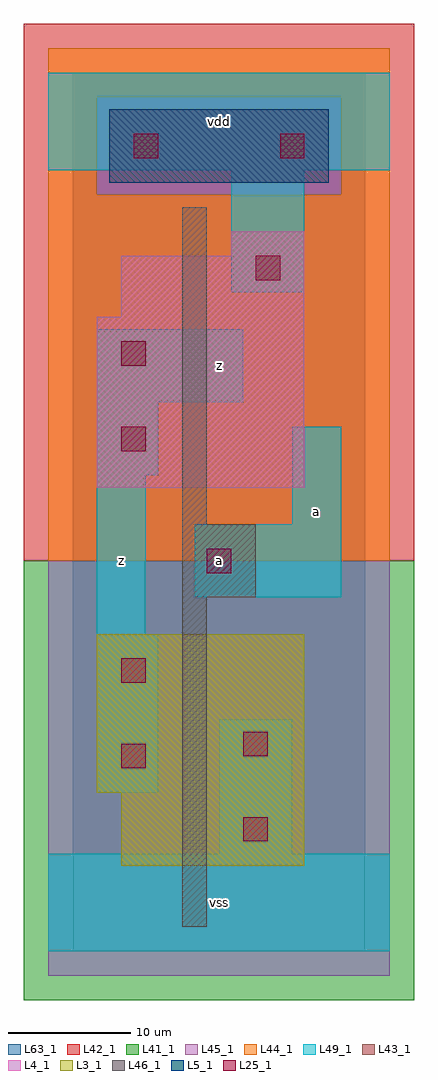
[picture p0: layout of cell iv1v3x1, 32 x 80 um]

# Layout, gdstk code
import gdstk
lib = gdstk.Library(unit=1e-6, precision=1e-09)
def R(c, l, rs):  # rectangles x0, y0, x1, y1
    for r in rs: c.add(gdstk.rectangle(r[:2], r[2:], *l))
L3_1 = (3, 1)
L4_1 = (4, 1)
L5_1 = (5, 1)
L25_1 = (25, 1)
L41_1 = (41, 1)
L42_1 = (42, 1)
L43_1 = (43, 1)
L44_1 = (44, 1)
L45_1 = (45, 1)
L46_1 = (46, 1)
L49_1 = (49, 1)
L63_1 = (63, 1)

iv1v3x1 = lib.new_cell('iv1v3x1')
R(iv1v3x1, L3_1, [(4,7,19,13), (2,13,19,26)])
R(iv1v3x1, L4_1, [(2,38,19,52), (4,52,19,57), (13,57,19,59)])
R(iv1v3x1, L5_1, [(3,63,21,69)])
R(iv1v3x1, L25_1, [(14,9,16,11), (4,15,6,17), (14,16,16,18), (4,22,6,24), (11,31,13,33), (4,41,6,43), (4,48,6,50), (15,55,17,57), (5,65,7,67), (17,65,19,67)])
R(iv1v3x1, L41_1, [(-4,-4,28,32)])
R(iv1v3x1, L42_1, [(-4,32,28,76)])
R(iv1v3x1, L43_1, [(4,7,19,13), (2,13,19,26), (2,38,19,52), (4,52,19,57), (13,57,19,59), (3,63,21,69)])
R(iv1v3x1, L44_1, [(-2,32,26,62), (-2,62,2,70), (22,62,26,70), (-2,70,26,74)])
R(iv1v3x1, L45_1, [(-2,-2,26,32), (2,62,22,70)])
R(iv1v3x1, L46_1, [(9,2,11,29), (9,29,15,35), (9,35,11,61)])
R(iv1v3x1, L49_1, [(-2,0,26,8), (12,8,18,19), (2,13,7,26), (2,26,6,39), (10,29,22,35), (18,35,22,43), (2,39,7,45), (2,45,14,51), (13,54,19,64), (-2,64,26,72)])
R(iv1v3x1, L63_1, [(0,0,24,72)])
iv1v3x1.add(gdstk.Label('z', (4,32), layer=49, texttype=1))
iv1v3x1.add(gdstk.Label('vss', (12,4), layer=49, texttype=1))
iv1v3x1.add(gdstk.Label('a', (12,32), layer=49, texttype=1))
iv1v3x1.add(gdstk.Label('z', (12,48), layer=49, texttype=1))
iv1v3x1.add(gdstk.Label('vdd', (12,68), layer=49, texttype=1))
iv1v3x1.add(gdstk.Label('a', (20,36), layer=49, texttype=1))

lib.write_gds('iv1v3x1.gds')
